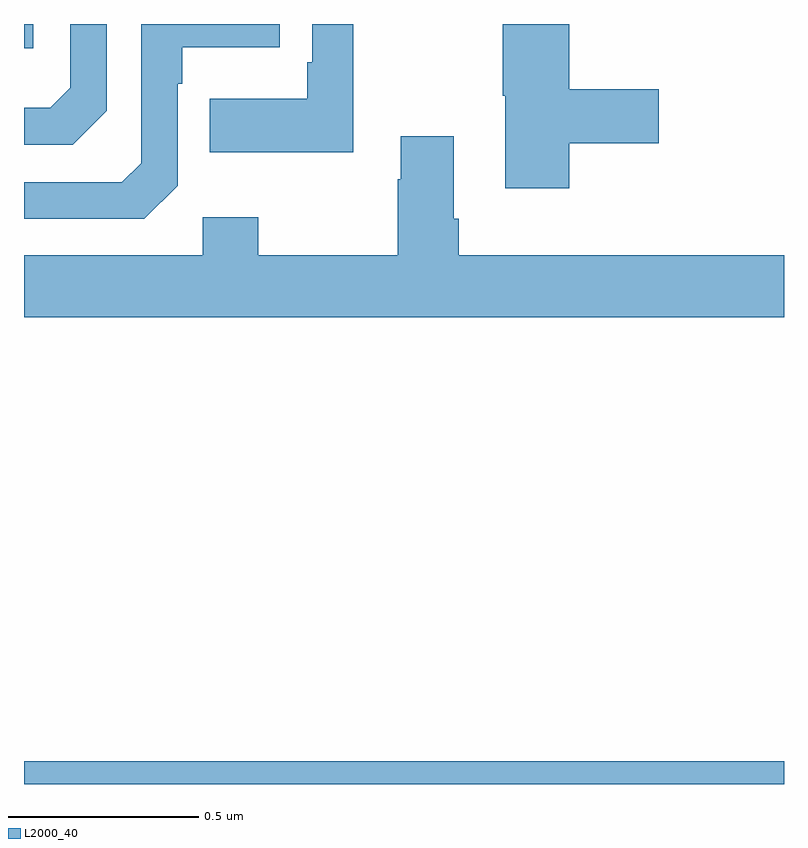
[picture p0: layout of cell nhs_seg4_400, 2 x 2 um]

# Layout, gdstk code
import gdstk
lib = gdstk.Library(unit=1e-6, precision=1e-09)
def R(c, l, rs):  # rectangles x0, y0, x1, y1
    for r in rs: c.add(gdstk.rectangle(r[:2], r[2:], *l))
def P(c, l, *ps):  # polygons
    for p in ps: c.add(gdstk.Polygon(p, *l))
L2000_40 = (2000, 40)

nhs_seg4_400 = lib.new_cell('nhs_seg4_400')
R(nhs_seg4_400, L2000_40, [(115,820.9,117,820.96), (115,822.836,115.024,822.9)])
P(nhs_seg4_400, L2000_40, [(115.867,822.9),(115.758,822.9),(115.758,822.799),(115.746,822.799),(115.746,822.703),(115.489,822.703),(115.489,822.563),(115.867,822.563)],
  [(116.435,822.586),(116.671,822.586),(116.671,822.728),(116.435,822.728),(116.435,822.9),(116.26,822.9),(116.26,822.711),(116.267,822.711),(116.267,822.468),(116.435,822.468)],
  [(115.404,822.474),(115.404,822.743),(115.417,822.743),(115.417,822.839),(115.673,822.839),(115.673,822.9),(115.308,822.9),(115.308,822.534),(115.257,822.483),(115,822.483),(115,822.387),(115.317,822.387)],
  [(115.218,822.672),(115.218,822.9),(115.122,822.9),(115.122,822.732),(115.069,822.679),(115,822.679),(115,822.582),(115.128,822.582)],
  [(117,822.292),(116.144,822.292),(116.144,822.388),(116.131,822.388),(116.131,822.604),(115.991,822.604),(115.991,822.491),(115.984,822.491),(115.984,822.292),(115.617,822.292),(115.617,822.391),(115.47,822.391),(115.47,822.292),(115,822.292),(115,822.128),(117,822.128)])

lib.write_gds('nhs_seg4_400.gds')
